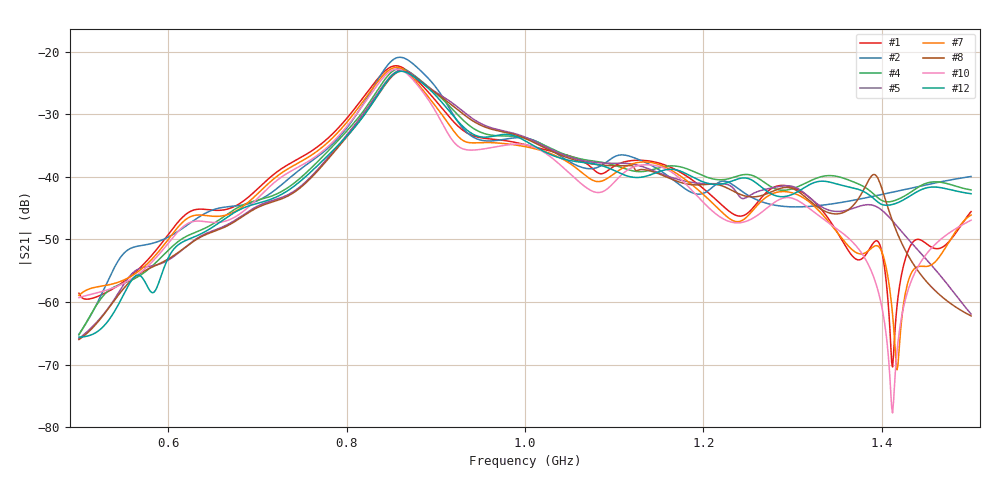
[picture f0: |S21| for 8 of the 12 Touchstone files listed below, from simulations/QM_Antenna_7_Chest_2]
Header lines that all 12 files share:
! TOUCHSTONE file generated by CST MICROWAVE STUDIO
! Header version: 2018
! Port assignment regex: !\s*Touchstone port\s*([0-9]+)\s*=\s*(CST MWS port|CST DS port)\s*([0-9]+|Zmin|Zmax)\s*\(\"(.*)\"\)(\s*mode\s*([0-9]+))?.*
! Touchstone port assignment:
! Touchstone port 1 = CST MWS port 1 ("")
! Touchstone port 2 = CST MWS port 2 ("")
# GHz S DB R 50
Fixed: L_HA = 400, MT = 2.54, Rad_Dielectric = 30, Rad_Lower = 7.3, Rad_Upper = 30, a_HA = 580, a_WG = 246, b_HA = 500, b_WG = 121, c_HA = 0, c_WG = 187, d_feed = 85, h_feed = 15, h_lower = 18, h_upper = 40, hfat = 3, hgap = 25, hmuscle = 50, hskin = 1.5
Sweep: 500 MHz to 1.5 GHz
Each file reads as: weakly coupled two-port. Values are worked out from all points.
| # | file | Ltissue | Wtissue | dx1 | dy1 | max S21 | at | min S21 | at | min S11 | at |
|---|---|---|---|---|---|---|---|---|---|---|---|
| 1 | 39_2.s2p | 1000 | 1000 | 346 | 311.4 | -22.28 dB | 855 MHz | -70.4 dB | 1.412 GHz | -16.7 dB | 1.3 GHz |
| 2 | 39_3.s2p | 700 | 700 | 520 | 311.4 | -20.92 dB | 860 MHz | -65.1 dB | 500 MHz | -24.1 dB | 1.238 GHz |
| 3 | 39_4.s2p | 700 | 700 | 693 | -311.4 | -21.30 dB | 861 MHz | -63.3 dB | 500 MHz | -48.1 dB | 764 MHz |
| 4 | 39_5.s2p | 700 | 700 | 866 | 311.4 | -22.71 dB | 860 MHz | -65.3 dB | 500 MHz | -39.7 dB | 1.256 GHz |
| 5 | 39_6.s2p | 700 | 700 | 1039 | 311.4 | -22.95 dB | 862 MHz | -65.9 dB | 500 MHz | -35.0 dB | 1.217 GHz |
| 6 | 40_1.s2p | 700 | 700 | 173 | -328.7 | -27.78 dB | 851 MHz | -67.8 dB | 500 MHz | -16.8 dB | 704 MHz |
| 7 | 40_2.s2p | 1000 | 1000 | 346 | 328.7 | -22.53 dB | 856 MHz | -70.8 dB | 1.417 GHz | -16.8 dB | 1.3 GHz |
| 8 | 40_6.s2p | 700 | 700 | 1039 | 328.7 | -23.13 dB | 862 MHz | -66.0 dB | 500 MHz | -33.2 dB | 1.217 GHz |
| 9 | 41_1.s2p | 700 | 700 | 173 | -346 | -27.24 dB | 851 MHz | -68.8 dB | 500 MHz | -18.3 dB | 703 MHz |
| 10 | 41_2.s2p | 1000 | 1000 | 346 | 346 | -22.80 dB | 856 MHz | -77.7 dB | 1.412 GHz | -17.1 dB | 1.3 GHz |
| 11 | 41_3.s2p | 700 | 700 | 520 | 346 | -21.57 dB | 861 MHz | -65.8 dB | 500 MHz | -30.1 dB | 1.235 GHz |
| 12 | 41_5.s2p | 700 | 700 | 866 | 346 | -23.15 dB | 861 MHz | -65.6 dB | 500 MHz | -31.3 dB | 1.254 GHz |
